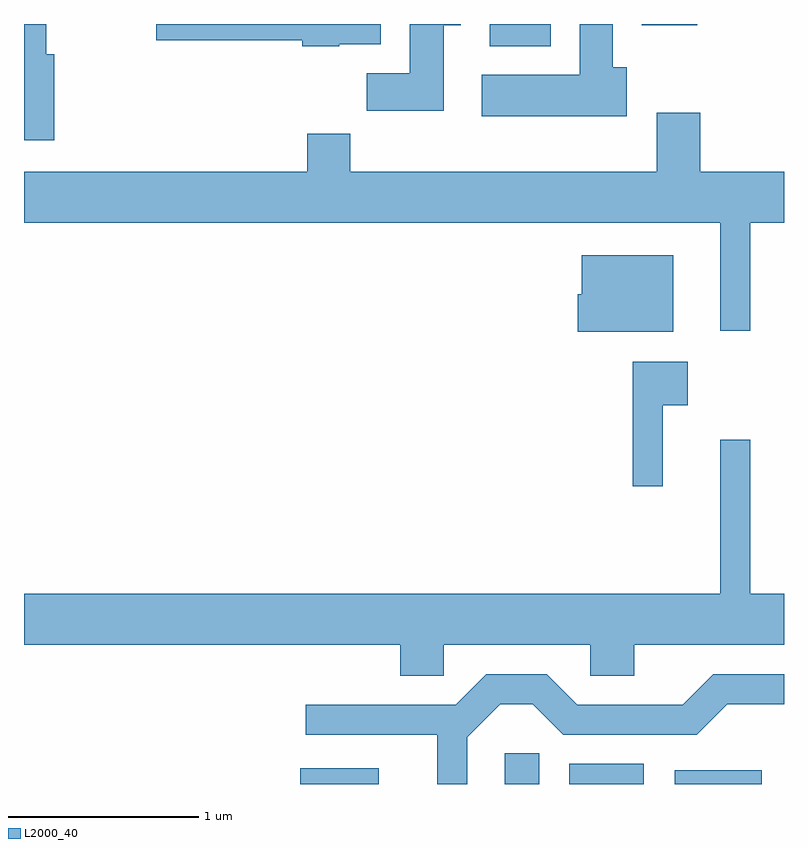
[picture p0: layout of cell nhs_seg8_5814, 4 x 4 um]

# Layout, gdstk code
import gdstk
lib = gdstk.Library(unit=1e-6, precision=1e-09)
def R(c, l, rs):  # rectangles x0, y0, x1, y1
    for r in rs: c.add(gdstk.rectangle(r[:2], r[2:], *l))
def P(c, l, *ps):  # polygons
    for p in ps: c.add(gdstk.Polygon(p, *l))
L2000_40 = (2000, 40)

nhs_seg8_5814 = lib.new_cell('nhs_seg8_5814')
R(nhs_seg8_5814, L2000_40, [(361.066,1842.342,361.479,1842.424), (362.141,1842.342,362.324,1842.504), (362.481,1842.342,362.874,1842.449), (363.036,1842.342,363.494,1842.414), (362.061,1846.226,362.384,1846.342), (362.861,1846.336,363.154,1846.342)])
P(nhs_seg8_5814, L2000_40, [(362.784,1846.114),(362.709,1846.114),(362.709,1846.342),(362.536,1846.342),(362.536,1846.074),(362.021,1846.074),(362.021,1845.856),(362.784,1845.856)],
  [(361.27,1846.236),(361.489,1846.236),(361.489,1846.342),(360.306,1846.342),(360.306,1846.256),(361.076,1846.256),(361.076,1846.226),(361.27,1846.226)],
  [(359.769,1846.184),(359.729,1846.184),(359.729,1846.342),(359.611,1846.342),(359.611,1845.731),(359.769,1845.731)],
  [(361.819,1846.336),(361.909,1846.336),(361.909,1846.342),(361.641,1846.342),(361.641,1846.084),(361.416,1846.084),(361.416,1845.886),(361.819,1845.886)],
  [(363.276,1844.728),(363.434,1844.728),(363.434,1845.296),(363.611,1845.296),(363.611,1845.564),(363.169,1845.564),(363.169,1845.874),(362.941,1845.874),(362.941,1845.564),(361.329,1845.564),(361.329,1845.764),(361.101,1845.764),(361.101,1845.564),(359.611,1845.564),(359.611,1845.296),(363.276,1845.296)],
  [(363.029,1845.124),(362.546,1845.124),(362.546,1844.919),(362.526,1844.919),(362.526,1844.721),(363.029,1844.721)],
  [(362.974,1844.336),(363.104,1844.336),(363.104,1844.564),(362.816,1844.564),(362.816,1843.908),(362.974,1843.908)],
  [(361.819,1843.076),(362.591,1843.076),(362.591,1842.911),(362.824,1842.911),(362.824,1843.076),(363.611,1843.076),(363.611,1843.344),(363.434,1843.344),(363.434,1844.153),(363.276,1844.153),(363.276,1843.344),(359.611,1843.344),(359.611,1843.076),(361.591,1843.076),(361.591,1842.911),(361.819,1842.911)],
  [(361.944,1842.589),(362.117,1842.761),(362.289,1842.761),(362.449,1842.601),(363.152,1842.601),(363.312,1842.761),(363.611,1842.761),(363.611,1842.919),(363.239,1842.919),(363.079,1842.759),(362.522,1842.759),(362.362,1842.919),(362.044,1842.919),(361.884,1842.759),(361.093,1842.759),(361.093,1842.601),(361.786,1842.601),(361.786,1842.342),(361.944,1842.342)])

lib.write_gds('nhs_seg8_5814.gds')
